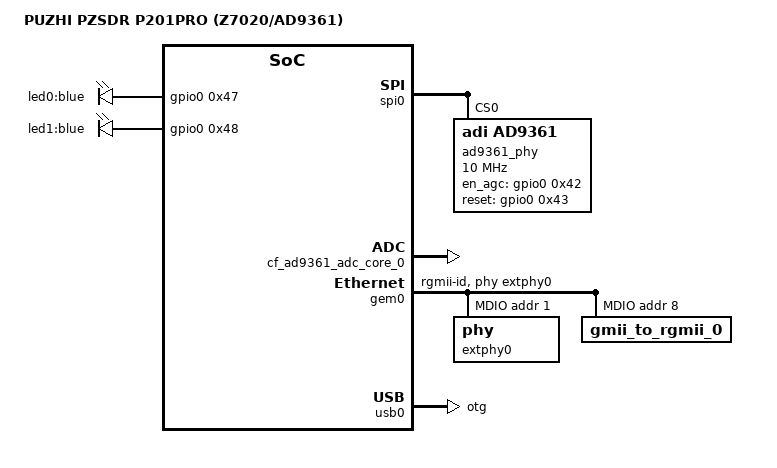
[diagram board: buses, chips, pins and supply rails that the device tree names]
/include/ "system-conf.dtsi"
#include <dt-bindings/interrupt-controller/irq.h>

/ {
	
	model = "PUZHI PZSDR P201PRO (Z7020/AD9361)";
	interrupt-parent = <&intc>;


	aliases {
		usb0 = "/amba/usb@e0002000";
	};

	usb_phy0: phy0 {

		compatible = "ulpi-phy";
        #phy-cells = <0x0>;
		reg = <0xe0002000 0x1000>;
		view-port = <0x0170>;
		drv-vbus;
	};

	chosen {
	   bootargs = "earlycon clk_ignore_unused uio_pdrv_genirq.of_id=generic-uio rootwait quiet loglevel=0";
	   stdout-path = "serial0:115200n8";
	};

	reserved-memory {
    	#address-cells = <1>;
    	#size-cells = <1>;
    	ranges;

    	dma_reserved: dma-buffer@3f000000 {
        	reg = <0x3f000000 0x01000000>;
        	no-map;
    };
   	reserved-driver@0 {
      	compatible = "xlnx,reserved-memory";
      	memory-region = <&dma_reserved>;
   	};		
};

	clocks {
		ad9361_clkin: clock@0 {
			#clock-cells = <0>;
			compatible = "adjustable-clock";
			clock-frequency = <40000000>;
			clock-accuracy = <200000>; /* 200 ppm (ppb) */
			clock-output-names = "ad9364_ext_refclk";
		};
	};

	l_clk: l_clk {

		compatible = "fixed-clock";
		#clock-cells = <0>;
		clock-frequency = <61440000>;
		clock-output-names = "l_clk";
	};	

	leds {
        compatible = "gpio-leds";

        led0 {
            label = "led0:blue";
            gpios = <&gpio0 0x47 0x0>;   /* GPIO_ACTIVE_HIGH */
            linux,default-trigger = "heartbeat";
        };

        led1 {
            label = "led1:blue";
            gpios = <&gpio0 0x48 0x0>;
            linux,default-trigger = "heartbeat";
        };
    };

};
		
	&spi0 {
	    status = "okay";

		/delete-property/ is-decoded-cs;
	    /delete-property/ num-cs ;

	    ad9361_phy: ad9361-phy@0 {

			#address-cells = <1>;
			#size-cells = <0>;
			#clock-cells = <1>;
			compatible = "adi,ad9361";

			/* SPI Setup */
			reg = <0>;
			spi-cpha;                                                           
			spi-max-frequency = <10000000>;                                            

			/* Clocks */
			clocks = <&ad9361_clkin 0>;
			clock-names = "ad9364_ext_refclk";
			clock-output-names = "rx_sampl_clk", "tx_sampl_clk";

			/* Digital Interface Control */

			 /* adi,digital-interface-tune-skip-mode:
			  * 0 = TUNE RX&TX
			  * 1 = SKIP TX
			  * 2 = SKIP ALL
			  */
		    //adi,digital-interface-tune-skip-mode = <0>;

			adi,pp-tx-swap-enable;                                                         
			adi,pp-rx-swap-enable;                                                          
			adi,rx-frame-pulse-mode-enable;                                                   

			adi,xo-disable-use-ext-refclk-enable;                                              
 
		    /* Enable CMOS Mode */
			adi,digital-interface-tune-fir-disable;                                
			adi,digital-interface-tune-skip-mode = <0x0>; /* TUNE RX & TX */        
			adi,rx-data-delay = <0x4>;                                                 
			adi,rx-data-clock-delay = <0x4>;                                        
			adi,tx-fb-clock-delay = <0x4>;                                                 
			adi,swap-ports-enable;                                                       

			/* Mode Setup */

			//adi,split-gain-table-mode-enable;

			/* ENSM Mode */

			adi,frequency-division-duplex-mode-enable;                                          
			adi,full-port-enable;                                                                    


			/* adi,rx-rf-port-input-select:
			 * 0 = (RX1A_N &  RX1A_P) and (RX2A_N & RX2A_P) enabled; balanced
			 * 1 = (RX1B_N &  RX1B_P) and (RX2B_N & RX2B_P) enabled; balanced
			 * 2 = (RX1C_N &  RX1C_P) and (RX2C_N & RX2C_P) enabled; balanced
			 *
			 * 3 = RX1A_N and RX2A_N enabled; unbalanced
			 * 4 = RX1A_P and RX2A_P enabled; unbalanced
			 * 5 = RX1B_N and RX2B_N enabled; unbalanced
			 * 6 = RX1B_P and RX2B_P enabled; unbalanced
			 * 7 = RX1C_N and RX2C_N enabled; unbalanced
			 * 8 = RX1C_P and RX2C_P enabled; unbalanced
			 */

			adi,rx-rf-port-input-select = <0x0>; /* (RX1A_N &  RX1A_P) and (RX2A_N & RX2A_P) enabled; balanced */                      
			adi,rx-rf-port-input-select-lock-enable;                                                                                       

			/* adi,tx-rf-port-input-select:
			 * 0	TX1A, TX2A
			 * 1	TX1B, TX2B
			 */
			adi,tx-rf-port-input-select = <0x0>; /* TX1A, TX2A */                        
			adi,tx-rf-port-input-select-lock-enable;                                       

            //adi,update-tx-gain-in-alert-enable;
			adi,tx-attenuation-mdB = <10000>;                                         
			adi,tx-lo-powerdown-managed-enable;                                        

		    adi,rf-rx-bandwidth-hz = <18000000>;
		    adi,rf-tx-bandwidth-hz = <18000000>;    

		    adi,rx-synthesizer-frequency-hz = /bits/ 64 <2400000000>;
		    adi,tx-synthesizer-frequency-hz = /bits/ 64 <2450000000>; 

            /*				                   BBPLL     ADC        R2CLK    R1CLK    CLKRF   RSAMPL  */
			adi,rx-path-clock-frequencies = <983040000 245760000 122880000 61440000 30720000 30720000>;                   
            /*				                   BBPLL     DAC        T2CLK    T1CLK    CLKTF    TSAMPL  */
			adi,tx-path-clock-frequencies = <983040000 122880000 122880000 61440000 30720000 30720000>;                         

			/* Gain Control */

			/* adi,gc-rx[1|2]-mode:
			 * 0 = RF_GAIN_MGC
			 * 1 = RF_GAIN_FASTATTACK_AGC
			 * 2 = RF_GAIN_SLOWATTACK_AGC
			 * 3 = RF_GAIN_HYBRID_AGC
			 */
			adi,gc-rx1-mode = <0x2>;                                             
			adi,gc-rx2-mode = <0x2>;                                               


			adi,gc-adc-ovr-sample-size = <0x4>;                                     
			adi,gc-adc-small-overload-thresh = <0x2f>;                              
			adi,gc-adc-large-overload-thresh = <0x3a>;                                
			adi,gc-lmt-overload-high-thresh = <0x320>;                               
			adi,gc-lmt-overload-low-thresh = <0x2c0>;                                 
			adi,gc-dec-pow-measurement-duration = <0x2000>;                        
			adi,gc-low-power-thresh = <0x18>;                                        


			//adi,gc-dig-gain-enable;
			//adi,gc-max-dig-gain = <15>;

			/* Manual Gain Control Setup */

			//adi,mgc-rx1-ctrl-inp-enable; /* uncomment to use ctrl inputs */
			//adi,mgc-rx2-ctrl-inp-enable; /* uncomment to use ctrl inputs */

			adi,mgc-inc-gain-step = <0x2>;                                           
			adi,mgc-dec-gain-step = <0x2>;                                          

			/* adi,mgc-split-table-ctrl-inp-gain-mode:                                   
			 * (relevant if adi,split-gain-table-mode-enable is set)
			 * 0 = AGC determine this
			 * 1 = only in LPF
			 * 2 = only in LMT
			 */

			adi,mgc-split-table-ctrl-inp-gain-mode = <0x0>;                           

            /* Automatic Gain Control Setup */

			adi,agc-attack-delay-extra-margin-us = <0x1>; /* us */    
			adi,agc-outer-thresh-high = <0x5>; /* -dBFS */             
			adi,agc-outer-thresh-high-dec-steps = <0x2>; /* 0..15 */   
			adi,agc-inner-thresh-high = <0xa>; /* -dBFS */             
			adi,agc-inner-thresh-high-dec-steps = <0x1>; /* 0..7 */   
			adi,agc-inner-thresh-low = <0xc>; /* -dBFS */            
			adi,agc-inner-thresh-low-inc-steps = <0x1>; /* 0..7 */     
			adi,agc-outer-thresh-low = <0x12>;  /* -dBFS */            
			adi,agc-outer-thresh-low-inc-steps = <0x2>; /* 0..15 */    



			adi,agc-adc-small-overload-exceed-counter = <0xa>; /* 0..15 */        
			adi,agc-adc-large-overload-exceed-counter = <0xa>; /* 0..15 */              
			adi,agc-adc-large-overload-inc-steps = <0x2>; /* 0..15 */                     
			adi,agc-lmt-overload-large-exceed-counter = <0xa>; /* 0..15 */              
			adi,agc-lmt-overload-small-exceed-counter = <0xa>; /* 0..15 */              
			adi,agc-lmt-overload-large-inc-steps = <0x2>;  /* 0..7 */                  
			adi,agc-gain-update-interval-us = <0x3e8>;  /* 1ms */                     
            /* Fast AGC */
			adi,fagc-dec-pow-measurement-duration = <0x40>; /* 64 Samples */         
            //adi,fagc-allow-agc-gain-increase-enable;
			adi,fagc-lp-thresh-increment-steps = <0x1>;                               
			adi,fagc-lp-thresh-increment-time = <0x5>;                                

			adi,fagc-energy-lost-stronger-sig-gain-lock-exit-cnt = <0x8>;          
			adi,fagc-final-overrange-count = <0x3>;                                
            //adi,fagc-gain-increase-after-gain-lock-enable;
			adi,fagc-gain-index-type-after-exit-rx-mode = <0x0>;                     
			adi,fagc-lmt-final-settling-steps = <0x1>;                                
			adi,fagc-lock-level = <0xa>;                                               
			adi,fagc-lock-level-gain-increase-upper-limit = <0x5>;                   
			adi,fagc-lock-level-lmt-gain-increase-enable;                          

			adi,fagc-lpf-final-settling-steps = <0x1>;                              
			adi,fagc-optimized-gain-offset = <0x5>;                                
			adi,fagc-power-measurement-duration-in-state5 = <0x40>;                 
			adi,fagc-rst-gla-engergy-lost-goto-optim-gain-enable;                  
			adi,fagc-rst-gla-engergy-lost-sig-thresh-below-ll = <0xa>;              
			adi,fagc-rst-gla-engergy-lost-sig-thresh-exceeded-enable;                
			adi,fagc-rst-gla-if-en-agc-pulled-high-mode = <0x0>;                      
			adi,fagc-rst-gla-large-adc-overload-enable;                             
			adi,fagc-rst-gla-large-lmt-overload-enable;                               
			adi,fagc-rst-gla-stronger-sig-thresh-above-ll = <0xa>;                     
			adi,fagc-rst-gla-stronger-sig-thresh-exceeded-enable;                       
			adi,fagc-state-wait-time-ns = <0x104>;                                       
			adi,fagc-use-last-lock-level-for-set-gain-enable;                          
			/* RSSI */

			/* adi,rssi-restart-mode:
			 * 0 = AGC_IN_FAST_ATTACK_MODE_LOCKS_THE_GAIN,
			 * 1 = EN_AGC_PIN_IS_PULLED_HIGH,
			 * 2 = ENTERS_RX_MODE,
			 * 3 = GAIN_CHANGE_OCCURS,
			 * 4 = SPI_WRITE_TO_REGISTER,
			 * 5 = GAIN_CHANGE_OCCURS_OR_EN_AGC_PIN_PULLED_HIGH,
			 */
			adi,rssi-restart-mode = <0x3>;                             
            //adi,rssi-unit-is-rx-samples-enable;
			adi,rssi-delay = <0x1>; /* 1us */                           
			adi,rssi-wait = <0x1>; /* 1us */                              
			adi,rssi-duration = <0x3e8>;  /* 1ms */                      

            /* Control Outputs */
			adi,ctrl-outs-index = <0x0>;                      
			adi,ctrl-outs-enable-mask = <0xff>;              
 
            /* AuxADC Temp Sense Control */
			adi,temp-sense-measurement-interval-ms = <0x3e8>;                    
			adi,temp-sense-offset-signed = <0xce>;                              
			adi,temp-sense-periodic-measurement-enable;                            

            /* AuxDAC Control */
			adi,aux-dac-manual-mode-enable;                
			adi,aux-dac1-default-value-mV = <0x0>;     

			//adi,aux-dac1-active-in-rx-enable;
			//adi,aux-dac1-active-in-tx-enable;
			//adi,aux-dac1-active-in-alert-enable;
			adi,aux-dac1-rx-delay-us = <0x0>;       
			adi,aux-dac1-tx-delay-us = <0x0>;     


			adi,aux-dac2-default-value-mV = <0x0>;    
			//adi,aux-dac2-active-in-rx-enable;
			//adi,aux-dac2-active-in-tx-enable;
			//adi,aux-dac2-active-in-alert-enable;
			adi,aux-dac2-rx-delay-us = <0x0>;         
			adi,aux-dac2-tx-delay-us = <0x0>;          

			/* Control GPIOs */
			en_agc-gpios = <&gpio0 0x42 0x0>;                                           
			reset-gpios = <&gpio0 0x43 0x0>;   
			
			adi,2rx-2tx-mode-enable;                                    	
	    };
	};

	&amba_pl {

	    dma-ranges;
		/delete-node/ axi_ad9361@79020000;
		/delete-node/ axi_dmac@7c400000;
		/delete-node/ misc_clk_0;
		/delete-node/ dma@40400000;
		/delete-node/ dma@40410000;		

		axi_dma_0: dma@40400000 {
			compatible = "generic-uio";

			reg = <0x40400000 0x10000>;

			interrupt-parent = <&intc>;
		        //IRQ_F2P[0] => GIC=61
			//DTS_IRQ = 61 - 32 = 29 
			//IRQ_F2P[0] -> GIC 61 -> DT interrupt 29 */
			interrupts = <0 29 4>;
			linux,uio-name = "axi-dma-psd";
			//linux,uio-name = "axi-dma-s2mm";
		};
		axi_dma_audio: dma@40410000 {
			compatible = "generic-uio";

			reg = <0x40410000 0x10000>;
		        //IRQ_F2P[0] => GIC=62
			//DTS_IRQ = 62 - 32 = 30 
 			//IRQ_F2P[1] -> GIC 62 -> DT interrupt 30 
			interrupt-parent = <&intc>;
			interrupts = <0 30 4>;
 			linux,uio-name = "axi-dma-audio";

			//linux,uio-name = "axi-dma-s2mm";
		};		

	    rx_dma: dma@7c400000 {

			compatible = "adi,axi-dmac-1.00.a";	
			reg = <0x7c400000 0x10000>;

            		/delete-property/ clock-names ;
			clocks = <&clkc 16>;

            		/delete-property/ interrupt-names ;
            		/delete-property/ interrupt-parent ;
			//IRQ_F2P[0] => GIC=89
			//DTS_IRQ = 89 - 32 = 57 ==> 0x39 				
			interrupts = <0x0 0x39 0x4>;

			#dma-cells = <1>;

			adi,channels {

				#size-cells = <0>;
				#address-cells = <1>;

				dma-channel@0 {
					reg = <0>;
					adi,source-bus-width = <32>;
					adi,source-bus-type = <2>;
					adi,destination-bus-width = <32>;
					adi,destination-bus-type = <0>;
				};
			};
		};

        cf_ad9361_adc_core_0: cf-ad9361-lpc@79020000 {			

			compatible = "adi,axi-ad9361-6.00.a";
			reg = <0x79020000 0x10000>;

            		/delete-property/ clock-names ;	
            		/delete-property/ clocks;				
					

			dmas = <&rx_dma 0>;
			dma-names = "rx";

			spibus-connected = <&ad9361_phy>;  
			adi,axi-decimation-core-available;
		};
	
	};

	&gem0 {

		local-mac-address = [00 0a 35 00 01 22];
		phy-handle = <&extphy0>;
		phy-mode = "rgmii-id";
		status = "okay";
		xlnx,has-mdio = <0x1>;

		ps7_ethernet_0_mdio: mdio {
			#address-cells = <1>;
			#size-cells = <0>;

			extphy0: phy@1 {
				device_type = "ethernet-phy";
				reg = <1>;
			};
			gmii_to_rgmii_0: gmii_to_rgmii_0@8 {
				phy-handle = <&extphy0>;
				reg = <8>;
			};
		};
	}; 

    &usb0 {

		status = "okay";
		dr_mode = "otg";
		/delete-property/ usb-reset;
		xlnx,phy-reset-gpio = <&gpio0 0x30 0x0>;
    };


